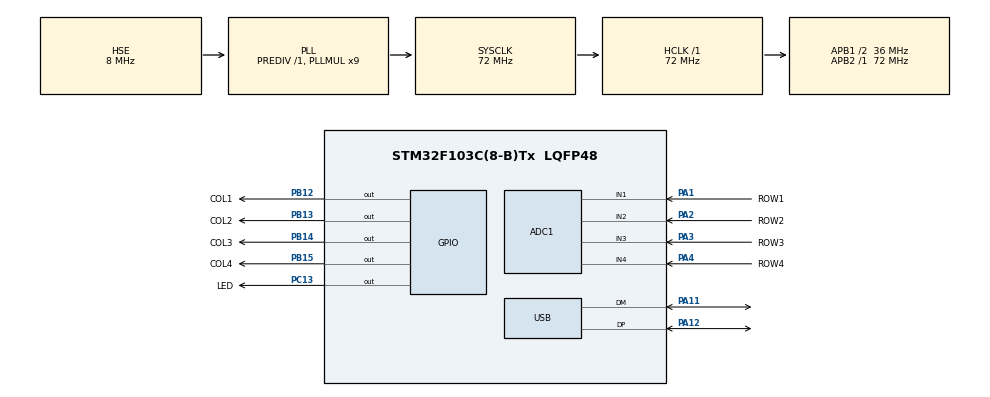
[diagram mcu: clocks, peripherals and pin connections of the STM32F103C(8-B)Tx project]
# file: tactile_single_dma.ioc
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ADC1.Channel-0\#ChannelRegularConversion=ADC_CHANNEL_1
ADC1.Channel-1\#ChannelRegularConversion=ADC_CHANNEL_1
ADC1.Channel-2\#ChannelRegularConversion=ADC_CHANNEL_1
ADC1.Channel-3\#ChannelRegularConversion=ADC_CHANNEL_1
ADC1.NbrOfConversion=4
ADC1.NbrOfConversionFlag=1
ADC1.Rank-0\#ChannelRegularConversion=1
ADC1.Rank-1\#ChannelRegularConversion=2
ADC1.Rank-2\#ChannelRegularConversion=3
ADC1.Rank-3\#ChannelRegularConversion=4
ADC1.SamplingTime-0\#ChannelRegularConversion=ADC_SAMPLETIME_13CYCLES_5
ADC1.SamplingTime-1\#ChannelRegularConversion=ADC_SAMPLETIME_13CYCLES_5
ADC1.SamplingTime-2\#ChannelRegularConversion=ADC_SAMPLETIME_13CYCLES_5
ADC1.SamplingTime-3\#ChannelRegularConversion=ADC_SAMPLETIME_13CYCLES_5
ADC1.master=1
Dma.ADC1.0.Direction=DMA_PERIPH_TO_MEMORY
Dma.ADC1.0.Instance=DMA1_Channel1
Dma.ADC1.0.MemDataAlignment=DMA_MDATAALIGN_WORD
Dma.ADC1.0.MemInc=DMA_MINC_ENABLE
Dma.ADC1.0.Mode=DMA_CIRCULAR
Dma.ADC1.0.PeriphDataAlignment=DMA_PDATAALIGN_WORD
Dma.ADC1.0.PeriphInc=DMA_PINC_DISABLE
Dma.ADC1.0.Priority=DMA_PRIORITY_LOW
Dma.Request0=ADC1
Mcu.Family=STM32F1
Mcu.Name=STM32F103C(8-B)Tx
Mcu.Package=LQFP48
NVIC.DMA1_Channel1_IRQn=true\:0\:0\:false\:false\:true\:false
NVIC.PriorityGroup=NVIC_PRIORITYGROUP_4
NVIC.TIM3_IRQn=true\:0\:0\:false\:false\:true\:true
NVIC.USB_LP_CAN1_RX0_IRQn=true\:0\:0\:false\:false\:true\:false
PA1.GPIO_Label=ROW1
PA1.Signal=ADCx_IN1
PA11.Mode=Device
PA11.Signal=USB_DM
PA12.Mode=Device
PA12.Signal=USB_DP
PA13.Mode=Serial_Wire
PA13.Signal=SYS_JTMS-SWDIO
PA14.Mode=Serial_Wire
PA14.Signal=SYS_JTCK-SWCLK
PA2.GPIO_Label=ROW2
PA2.Signal=ADCx_IN2
PA3.GPIO_Label=ROW3
PA3.Signal=ADCx_IN3
PA4.GPIO_Label=ROW4
PA4.Signal=ADCx_IN4
PB12.GPIO_Label=COL1
PB12.Signal=GPIO_Output
PB13.GPIO_Label=COL2
PB13.Signal=GPIO_Output
PB14.GPIO_Label=COL3
PB14.Signal=GPIO_Output
PB15.GPIO_Label=COL4
PB15.Signal=GPIO_Output
PC13-TAMPER-RTC.GPIO_Label=LED
PC13-TAMPER-RTC.Signal=GPIO_Output
PD0-OSC_IN.Mode=HSE-External-Oscillator
PD0-OSC_IN.Signal=RCC_OSC_IN
PD1-OSC_OUT.Mode=HSE-External-Oscillator
PD1-OSC_OUT.Signal=RCC_OSC_OUT
ProjectManager.HeapSize=0x200
ProjectManager.StackSize=0x400
ProjectManager.TargetToolchain=TrueSTUDIO
RCC.ADCPresc=RCC_ADCPCLK2_DIV6
RCC.AHBFreq_Value=72000000
RCC.APB1CLKDivider=RCC_HCLK_DIV2
RCC.APB1Freq_Value=36000000
RCC.APB1TimFreq_Value=72000000
RCC.APB2Freq_Value=72000000
RCC.APB2TimFreq_Value=72000000
RCC.HCLKFreq_Value=72000000
RCC.PLLMUL=RCC_PLL_MUL9
RCC.SYSCLKFreq_VALUE=72000000
RCC.SYSCLKSource=RCC_SYSCLKSOURCE_PLLCLK
RCC.USBFreq_Value=48000000
RCC.USBPrescaler=RCC_USBCLKSOURCE_PLL_DIV1_5
SH.ADCx_IN1.0=ADC1_IN1,IN1
SH.ADCx_IN2.0=ADC1_IN2,IN2
SH.ADCx_IN3.0=ADC1_IN3,IN3
SH.ADCx_IN4.0=ADC1_IN4,IN4
TIM3.Period=249
TIM3.Prescaler=71
USB.ep0_mps=DEP0CTL_MPS_64
USB_DEVICE.CLASS_NAME_FS=CDC
USB_DEVICE.VirtualMode=Cdc
USB_DEVICE.VirtualModeFS=Cdc_FS
VP_TIM3_VS_ClockSourceINT.Mode=Internal
VP_USB_DEVICE_VS_USB_DEVICE_CDC_FS.Mode=CDC_FS
board=custom

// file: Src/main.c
/**
  ******************************************************************************
  * @file           : main.c
  * @brief          : Main program body
  ******************************************************************************
  * This notice applies to any and all portions of this file
  * that are not between comment pairs USER CODE BEGIN and
  * USER CODE END. Other portions of this file, whether
  * inserted by the user or by software development tools
  * are owned by their respective copyright owners.
  *
  * Copyright (c) 2019 STMicroelectronics International N.V.
  * All rights reserved.
  *
  * Redistribution and use in source and binary forms, with or without
  * modification, are permitted, provided that the following conditions are met:
  *
  * 1. Redistribution of source code must retain the above copyright notice,
  *    this list of conditions and the following disclaimer.
  * 2. Redistributions in binary form must reproduce the above copyright notice,
  *    this list of conditions and the following disclaimer in the documentation
  *    and/or other materials provided with the distribution.
  * 3. Neither the name of STMicroelectronics nor the names of other
  *    contributors to this software may be used to endorse or promote products
  *    derived from this software without specific written permission.
  * 4. This software, including modifications and/or derivative works of this
  *    software, must execute solely and exclusively on microcontroller or
  *    microprocessor devices manufactured by or for STMicroelectronics.
  * 5. Redistribution and use of this software other than as permitted under
  *    this license is void and will automatically terminate your rights under
  *    this license.
  *
  * THIS SOFTWARE IS PROVIDED BY STMICROELECTRONICS AND CONTRIBUTORS "AS IS"
  * AND ANY EXPRESS, IMPLIED OR STATUTORY WARRANTIES, INCLUDING, BUT NOT
  * LIMITED TO, THE IMPLIED WARRANTIES OF MERCHANTABILITY, FITNESS FOR A
  * PARTICULAR PURPOSE AND NON-INFRINGEMENT OF THIRD PARTY INTELLECTUAL PROPERTY
  * RIGHTS ARE DISCLAIMED TO THE FULLEST EXTENT PERMITTED BY LAW. IN NO EVENT
  * SHALL STMICROELECTRONICS OR CONTRIBUTORS BE LIABLE FOR ANY DIRECT, INDIRECT,
  * INCIDENTAL, SPECIAL, EXEMPLARY, OR CONSEQUENTIAL DAMAGES (INCLUDING, BUT NOT
  * LIMITED TO, PROCUREMENT OF SUBSTITUTE GOODS OR SERVICES; LOSS OF USE, DATA,
  * OR PROFITS; OR BUSINESS INTERRUPTION) HOWEVER CAUSED AND ON ANY THEORY OF
  * LIABILITY, WHETHER IN CONTRACT, STRICT LIABILITY, OR TORT (INCLUDING
  * NEGLIGENCE OR OTHERWISE) ARISING IN ANY WAY OUT OF THE USE OF THIS SOFTWARE,
  * EVEN IF ADVISED OF THE POSSIBILITY OF SUCH DAMAGE.
  *
  ******************************************************************************
  */
#include "main.h"
#include "stm32f1xx_hal.h"
#include "usb_device.h"

/* USER CODE BEGIN Includes */
#include "usbd_cdc_if.h"

/* USER CODE END Includes */

ADC_HandleTypeDef hadc1;
DMA_HandleTypeDef hdma_adc1;

TIM_HandleTypeDef htim3;

/* USER CODE BEGIN PV */
/* Private variables ---------------------------------------------------------*/
uint8_t flagLED = 0;
#define ST 0x24
#define ET 0x21
#define NCOLS 4
#define NROWS 4
#define NTAXELS 16
#define MAX_ADC 4
#define DATA_BUFFER_SIZE 34
uint32_t adcBuffer[MAX_ADC];
uint8_t usb_buffer[DATA_BUFFER_SIZE];
uint8_t flagStart = 0;
uint8_t index_col = 0;
uint8_t taxel_counter = 1;

/* USER CODE END PV */

void SystemClock_Config(void);
static void MX_GPIO_Init(void);
static void MX_DMA_Init(void);
static void MX_ADC1_Init(void);
static void MX_TIM3_Init(void);

/* USER CODE BEGIN PFP */
/* Private function prototypes -----------------------------------------------*/

/* USER CODE END PFP */

/* USER CODE BEGIN 0 */
void ref_cols()
{
	HAL_GPIO_WritePin(GPIOB, COL1_Pin|COL2_Pin|COL3_Pin|COL4_Pin, GPIO_PIN_SET);
}
void select_col(uint8_t index)
{
	if(index == 0)
	{
		HAL_GPIO_WritePin(GPIOB, COL1_Pin, GPIO_PIN_RESET);
	}
	else if(index == 1)
	{
		HAL_GPIO_WritePin(GPIOB, COL2_Pin, GPIO_PIN_RESET);
	}
	else if(index == 2)
	{
		HAL_GPIO_WritePin(GPIOB, COL3_Pin, GPIO_PIN_RESET);
	}
	else if(index == 3)
	{
		HAL_GPIO_WritePin(GPIOB, COL4_Pin, GPIO_PIN_RESET);
	}
}
uint16_t read_adc(uint8_t index)
{
	ADC_ChannelConfTypeDef sConfig;
	if(index == 0)
		sConfig.Channel = ADC_CHANNEL_4;
	else if(index == 1)
		sConfig.Channel = ADC_CHANNEL_1;
	else if(index == 2)
			sConfig.Channel = ADC_CHANNEL_2;
	else if(index == 3)
			sConfig.Channel = ADC_CHANNEL_3;
	sConfig.Rank = ADC_REGULAR_RANK_1;
	sConfig.SamplingTime = ADC_SAMPLETIME_13CYCLES_5;
	if (HAL_ADC_ConfigChannel(&hadc1, &sConfig) != HAL_OK)
	{
		_Error_Handler(__FILE__, __LINE__);
	}

	HAL_ADC_Start(&hadc1);
	uint8_t ret = HAL_ADC_PollForConversion(&hadc1,1000);
	if(ret == HAL_OK)
	{
		uint16_t adcv = HAL_ADC_GetValue(&hadc1);
		return adcv;
	}
	else
		return -1;

}
void setup_init()
{
	ref_cols();
	usb_buffer[0] = ST;
	usb_buffer[DATA_BUFFER_SIZE-1] = ET;
}
//timer interrupt
void runTimer()
{
	//debugging interrupt period by activating the lED
//	if(flagLED == 0)
//	{
//		HAL_GPIO_WritePin(LED_GPIO_Port, LED_Pin, GPIO_PIN_RESET);
//		flagLED = 1;
//	}
//	else
//	{
//		HAL_GPIO_WritePin(LED_GPIO_Port, LED_Pin, GPIO_PIN_SET);
//		flagLED = 0;
//	}

	if(flagStart != 0)
	{
		for(int i=0; i<NROWS; i++)
		{
			usb_buffer[taxel_counter] = adcBuffer[i] >> 8;
			usb_buffer[taxel_counter+1] = adcBuffer[i] & 0xff;
			taxel_counter += 2;
		}

		if(taxel_counter >= NTAXELS*2)
		{
			usb_buffer[0] = ST;
			usb_buffer[DATA_BUFFER_SIZE-1] = ET;
			CDC_Transmit_FS(usb_buffer,DATA_BUFFER_SIZE);
			taxel_counter = 1;
			if(flagLED == 0)
			{
				HAL_GPIO_WritePin(LED_GPIO_Port, LED_Pin, GPIO_PIN_RESET);
				flagLED = 1;
			}
			else
			{
				HAL_GPIO_WritePin(LED_GPIO_Port, LED_Pin, GPIO_PIN_SET);
				flagLED = 0;
			}
		}
	}
	else
	{
		flagStart = 1;
	}

	//reference the columns
	ref_cols();

	//select the column
	select_col(index_col);
	index_col++;
	if(index_col >= NCOLS)
		index_col = 0;

	//trigger ADC
	HAL_ADC_Start_DMA(&hadc1,adcBuffer,MAX_ADC);

}

/* USER CODE END 0 */

int main(void)
{

  /* MCU Configuration----------------------------------------------------------*/

  /* Reset of all peripherals, Initializes the Flash interface and the Systick. */
  HAL_Init();

  /* Configure the system clock */
  SystemClock_Config();

  /* Initialize all configured peripherals */
  MX_GPIO_Init();
  MX_DMA_Init();
  MX_ADC1_Init();
  MX_USB_DEVICE_Init();
  MX_TIM3_Init();
  /* USER CODE BEGIN 2 */
  //start the timer
  HAL_TIM_Base_Start_IT(&htim3);
  /* USER CODE END 2 */

  /* Infinite loop */
  while (1)
  {

  }

}

void SystemClock_Config(void)
{

  RCC_OscInitTypeDef RCC_OscInitStruct;
  RCC_ClkInitTypeDef RCC_ClkInitStruct;
  RCC_PeriphCLKInitTypeDef PeriphClkInit;

    /**Initializes the CPU, AHB and APB busses clocks
    */
  RCC_OscInitStruct.OscillatorType = RCC_OSCILLATORTYPE_HSE;
  RCC_OscInitStruct.HSEState = RCC_HSE_ON;
  RCC_OscInitStruct.HSEPredivValue = RCC_HSE_PREDIV_DIV1;
  RCC_OscInitStruct.HSIState = RCC_HSI_ON;
  RCC_OscInitStruct.PLL.PLLState = RCC_PLL_ON;
  RCC_OscInitStruct.PLL.PLLSource = RCC_PLLSOURCE_HSE;
  RCC_OscInitStruct.PLL.PLLMUL = RCC_PLL_MUL9;
  if (HAL_RCC_OscConfig(&RCC_OscInitStruct) != HAL_OK)
  {
    _Error_Handler(__FILE__, __LINE__);
  }

    /**Initializes the CPU, AHB and APB busses clocks
    */
  RCC_ClkInitStruct.ClockType = RCC_CLOCKTYPE_HCLK|RCC_CLOCKTYPE_SYSCLK
                              |RCC_CLOCKTYPE_PCLK1|RCC_CLOCKTYPE_PCLK2;
  RCC_ClkInitStruct.SYSCLKSource = RCC_SYSCLKSOURCE_PLLCLK;
  RCC_ClkInitStruct.AHBCLKDivider = RCC_SYSCLK_DIV1;
  RCC_ClkInitStruct.APB1CLKDivider = RCC_HCLK_DIV2;
  RCC_ClkInitStruct.APB2CLKDivider = RCC_HCLK_DIV1;

  if (HAL_RCC_ClockConfig(&RCC_ClkInitStruct, FLASH_LATENCY_2) != HAL_OK)
  {
    _Error_Handler(__FILE__, __LINE__);
  }

  PeriphClkInit.PeriphClockSelection = RCC_PERIPHCLK_ADC|RCC_PERIPHCLK_USB;
  PeriphClkInit.AdcClockSelection = RCC_ADCPCLK2_DIV6;
  PeriphClkInit.UsbClockSelection = RCC_USBCLKSOURCE_PLL_DIV1_5;
  if (HAL_RCCEx_PeriphCLKConfig(&PeriphClkInit) != HAL_OK)
  {
    _Error_Handler(__FILE__, __LINE__);
  }

    /**Configure the Systick interrupt time
    */
  HAL_SYSTICK_Config(HAL_RCC_GetHCLKFreq()/1000);

    /**Configure the Systick
    */
  HAL_SYSTICK_CLKSourceConfig(SYSTICK_CLKSOURCE_HCLK);

  /* SysTick_IRQn interrupt configuration */
  HAL_NVIC_SetPriority(SysTick_IRQn, 0, 0);
}

/* ADC1 init function */
static void MX_ADC1_Init(void)
{

  ADC_ChannelConfTypeDef sConfig;

    /**Common config
    */
  hadc1.Instance = ADC1;
  hadc1.Init.ScanConvMode = ADC_SCAN_ENABLE;
  hadc1.Init.ContinuousConvMode = DISABLE;
  hadc1.Init.DiscontinuousConvMode = DISABLE;
  hadc1.Init.ExternalTrigConv = ADC_SOFTWARE_START;
  hadc1.Init.DataAlign = ADC_DATAALIGN_RIGHT;
  hadc1.Init.NbrOfConversion = 4;
  if (HAL_ADC_Init(&hadc1) != HAL_OK)
  {
    _Error_Handler(__FILE__, __LINE__);
  }

    /**Configure Regular Channel
    */
  sConfig.Channel = ADC_CHANNEL_1;
  sConfig.Rank = ADC_REGULAR_RANK_1;
  sConfig.SamplingTime = ADC_SAMPLETIME_13CYCLES_5;
  if (HAL_ADC_ConfigChannel(&hadc1, &sConfig) != HAL_OK)
  {
    _Error_Handler(__FILE__, __LINE__);
  }

    /**Configure Regular Channel
    */
  sConfig.Rank = ADC_REGULAR_RANK_2;
  if (HAL_ADC_ConfigChannel(&hadc1, &sConfig) != HAL_OK)
  {
    _Error_Handler(__FILE__, __LINE__);
  }

    /**Configure Regular Channel
    */
  sConfig.Rank = ADC_REGULAR_RANK_3;
  if (HAL_ADC_ConfigChannel(&hadc1, &sConfig) != HAL_OK)
  {
    _Error_Handler(__FILE__, __LINE__);
  }

    /**Configure Regular Channel
    */
  sConfig.Rank = ADC_REGULAR_RANK_4;
  if (HAL_ADC_ConfigChannel(&hadc1, &sConfig) != HAL_OK)
  {
    _Error_Handler(__FILE__, __LINE__);
  }

}

/* TIM3 init function */
static void MX_TIM3_Init(void)
{

  TIM_ClockConfigTypeDef sClockSourceConfig;
  TIM_MasterConfigTypeDef sMasterConfig;

  htim3.Instance = TIM3;
  htim3.Init.Prescaler = 71;
  htim3.Init.CounterMode = TIM_COUNTERMODE_UP;
  htim3.Init.Period = 249;
  htim3.Init.ClockDivision = TIM_CLOCKDIVISION_DIV1;
  htim3.Init.AutoReloadPreload = TIM_AUTORELOAD_PRELOAD_DISABLE;
  if (HAL_TIM_Base_Init(&htim3) != HAL_OK)
  {
    _Error_Handler(__FILE__, __LINE__);
  }

  sClockSourceConfig.ClockSource = TIM_CLOCKSOURCE_INTERNAL;
  if (HAL_TIM_ConfigClockSource(&htim3, &sClockSourceConfig) != HAL_OK)
  {
    _Error_Handler(__FILE__, __LINE__);
  }

  sMasterConfig.MasterOutputTrigger = TIM_TRGO_RESET;
  sMasterConfig.MasterSlaveMode = TIM_MASTERSLAVEMODE_DISABLE;
  if (HAL_TIMEx_MasterConfigSynchronization(&htim3, &sMasterConfig) != HAL_OK)
  {
    _Error_Handler(__FILE__, __LINE__);
  }

}

static void MX_DMA_Init(void)
{
  /* DMA controller clock enable */
  __HAL_RCC_DMA1_CLK_ENABLE();

  /* DMA interrupt init */
  /* DMA1_Channel1_IRQn interrupt configuration */
  HAL_NVIC_SetPriority(DMA1_Channel1_IRQn, 0, 0);
  HAL_NVIC_EnableIRQ(DMA1_Channel1_IRQn);

}

/** Configure pins as
        * Analog
        * Input
        * Output
        * EVENT_OUT
        * EXTI
*/
static void MX_GPIO_Init(void)
{

  GPIO_InitTypeDef GPIO_InitStruct;

  /* GPIO Ports Clock Enable */
  __HAL_RCC_GPIOC_CLK_ENABLE();
  __HAL_RCC_GPIOD_CLK_ENABLE();
  __HAL_RCC_GPIOA_CLK_ENABLE();
  __HAL_RCC_GPIOB_CLK_ENABLE();

  /*Configure GPIO pin Output Level */
  HAL_GPIO_WritePin(LED_GPIO_Port, LED_Pin, GPIO_PIN_RESET);

  /*Configure GPIO pin Output Level */
  HAL_GPIO_WritePin(GPIOB, COL1_Pin|COL2_Pin|COL3_Pin|COL4_Pin, GPIO_PIN_RESET);

  /*Configure GPIO pin : LED_Pin */
  GPIO_InitStruct.Pin = LED_Pin;
  GPIO_InitStruct.Mode = GPIO_MODE_OUTPUT_PP;
  GPIO_InitStruct.Pull = GPIO_NOPULL;
  GPIO_InitStruct.Speed = GPIO_SPEED_FREQ_LOW;
  HAL_GPIO_Init(LED_GPIO_Port, &GPIO_InitStruct);

  /*Configure GPIO pins : COL1_Pin COL2_Pin COL3_Pin COL4_Pin */
  GPIO_InitStruct.Pin = COL1_Pin|COL2_Pin|COL3_Pin|COL4_Pin;
  GPIO_InitStruct.Mode = GPIO_MODE_OUTPUT_PP;
  GPIO_InitStruct.Pull = GPIO_NOPULL;
  GPIO_InitStruct.Speed = GPIO_SPEED_FREQ_LOW;
  HAL_GPIO_Init(GPIOB, &GPIO_InitStruct);

}

void _Error_Handler(char *file, int line)
{
  while(1)
  {
  }
}

/************************ (C) COPYRIGHT STMicroelectronics *****END OF FILE****/
